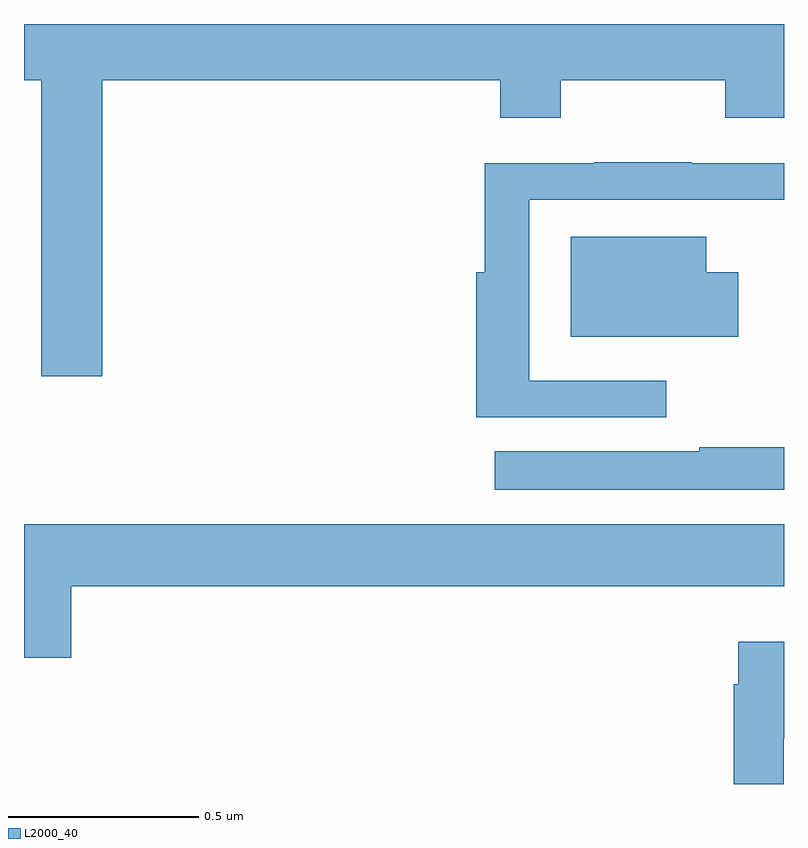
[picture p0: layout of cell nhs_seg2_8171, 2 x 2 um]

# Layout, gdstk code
import gdstk
lib = gdstk.Library(unit=1e-6, precision=1e-09)
def P(c, l, *ps):  # polygons
    for p in ps: c.add(gdstk.Polygon(p, *l))
L2000_40 = (2000, 40)

nhs_seg2_8171 = lib.new_cell('nhs_seg2_8171')
P(nhs_seg2_8171, L2000_40, [(213.206,631.652),(214.253,631.652),(214.253,631.553),(214.413,631.553),(214.413,631.652),(214.846,631.652),(214.846,631.553),(215,631.553),(215,631.8),(213,631.8),(213,631.652),(213.046,631.652),(213.046,630.873),(213.206,630.873)],
  [(214.69,630.861),(214.329,630.861),(214.329,631.338),(215,631.338),(215,631.434),(214.757,631.434),(214.757,631.436),(214.501,631.436),(214.501,631.434),(214.213,631.434),(214.213,631.147),(214.19,631.147),(214.19,630.765),(214.69,630.765)],
  [(214.879,631.147),(214.795,631.147),(214.795,631.24),(214.439,631.24),(214.439,630.977),(214.879,630.977)],
  [(215,630.686),(214.777,630.686),(214.777,630.676),(214.239,630.676),(214.239,630.575),(215,630.575)],
  [(213.124,630.32),(215,630.32),(215,630.484),(213,630.484),(213,630.132),(213.124,630.132)],
  [(214.999,629.919),(215,629.919),(215,630.175),(214.88,630.175),(214.88,630.062),(214.868,630.062),(214.868,629.8),(214.999,629.8)])

lib.write_gds('nhs_seg2_8171.gds')
